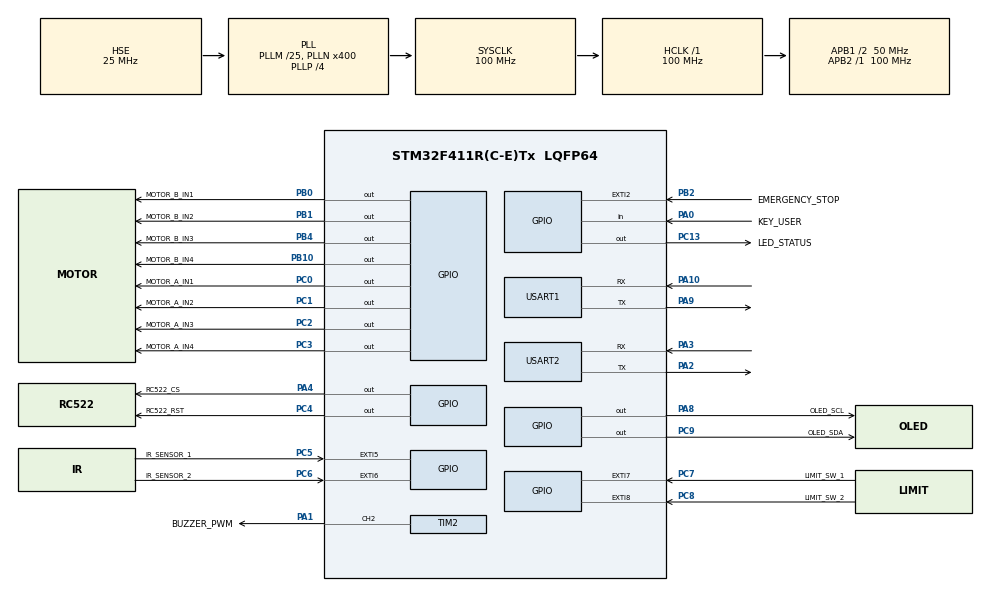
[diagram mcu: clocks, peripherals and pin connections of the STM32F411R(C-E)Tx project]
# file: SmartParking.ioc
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Dma.Request0=USART2_RX
Dma.USART2_RX.0.Direction=DMA_PERIPH_TO_MEMORY
Dma.USART2_RX.0.FIFOMode=DMA_FIFOMODE_DISABLE
Dma.USART2_RX.0.Instance=DMA1_Stream5
Dma.USART2_RX.0.MemDataAlignment=DMA_MDATAALIGN_BYTE
Dma.USART2_RX.0.MemInc=DMA_MINC_ENABLE
Dma.USART2_RX.0.Mode=DMA_CIRCULAR
Dma.USART2_RX.0.PeriphDataAlignment=DMA_PDATAALIGN_BYTE
Dma.USART2_RX.0.PeriphInc=DMA_PINC_DISABLE
Dma.USART2_RX.0.Priority=DMA_PRIORITY_MEDIUM
FREERTOS.Tasks01=defaultTask,24,128,StartDefaultTask,Default,NULL,Dynamic,NULL,NULL
FREERTOS.configCHECK_FOR_STACK_OVERFLOW=2
FREERTOS.configTOTAL_HEAP_SIZE=40960
Mcu.Family=STM32F4
Mcu.Name=STM32F411R(C-E)Tx
Mcu.Package=LQFP64
NVIC.DMA1_Stream5_IRQn=true\:5\:0\:false\:false\:true\:true\:false\:true\:true
NVIC.EXTI2_IRQn=true\:5\:0\:false\:false\:true\:true\:true\:true\:true
NVIC.EXTI9_5_IRQn=true\:5\:0\:false\:false\:true\:true\:true\:true\:true
NVIC.PriorityGroup=NVIC_PRIORITYGROUP_4
NVIC.TIM1_TRG_COM_TIM11_IRQn=true\:15\:0\:false\:false\:true\:false\:false\:true\:true
NVIC.TimeBase=TIM1_TRG_COM_TIM11_IRQn
NVIC.TimeBaseIP=TIM11
NVIC.USART1_IRQn=true\:5\:0\:false\:false\:true\:true\:true\:true\:true
NVIC.USART2_IRQn=true\:5\:0\:false\:false\:true\:true\:true\:true\:true
PA0-WKUP.GPIO_Label=KEY_USER
PA0-WKUP.GPIO_PuPd=GPIO_PULLUP
PA0-WKUP.Signal=GPIO_Input
PA1.GPIO_Label=BUZZER_PWM
PA1.Signal=S_TIM2_CH2
PA10.Mode=Asynchronous
PA10.Signal=USART1_RX
PA13.Mode=Serial_Wire
PA13.Signal=SYS_JTMS-SWDIO
PA14.Mode=Serial_Wire
PA14.Signal=SYS_JTCK-SWCLK
PA2.Mode=Asynchronous
PA2.Signal=USART2_TX
PA3.Mode=Asynchronous
PA3.Signal=USART2_RX
PA4.GPIO_Label=RC522_CS
PA4.GPIO_Speed=GPIO_SPEED_FREQ_HIGH
PA4.PinState=GPIO_PIN_SET
PA4.Signal=GPIO_Output
PA8.GPIO_Label=OLED_SCL
PA8.GPIO_ModeDefaultOutputPP=GPIO_MODE_OUTPUT_OD
PA8.GPIO_PuPd=GPIO_NOPULL
PA8.GPIO_Speed=GPIO_SPEED_FREQ_HIGH
PA8.Signal=GPIO_Output
PA9.Mode=Asynchronous
PA9.Signal=USART1_TX
PB0.GPIO_Label=MOTOR_B_IN1
PB0.Signal=GPIO_Output
PB1.GPIO_Label=MOTOR_B_IN2
PB1.Signal=GPIO_Output
PB10.GPIO_Label=MOTOR_B_IN4
PB10.Signal=GPIO_Output
PB2.GPIO_Label=EMERGENCY_STOP
PB2.GPIO_ModeDefaultEXTI=GPIO_MODE_IT_RISING_FALLING
PB2.GPIO_PuPd=GPIO_PULLUP
PB2.Signal=GPXTI2
PB4.GPIO_Label=MOTOR_B_IN3
PB4.Signal=GPIO_Output
PC0.GPIO_Label=MOTOR_A_IN1
PC0.Signal=GPIO_Output
PC1.GPIO_Label=MOTOR_A_IN2
PC1.Signal=GPIO_Output
PC13-ANTI_TAMP.GPIO_Label=LED_STATUS
PC13-ANTI_TAMP.PinState=GPIO_PIN_SET
PC13-ANTI_TAMP.Signal=GPIO_Output
PC2.GPIO_Label=MOTOR_A_IN3
PC2.Signal=GPIO_Output
PC3.GPIO_Label=MOTOR_A_IN4
PC3.Signal=GPIO_Output
PC4.GPIO_Label=RC522_RST
PC4.PinState=GPIO_PIN_SET
PC4.Signal=GPIO_Output
PC5.GPIO_Label=IR_SENSOR_1
PC5.GPIO_ModeDefaultEXTI=GPIO_MODE_IT_RISING_FALLING
PC5.GPIO_PuPd=GPIO_PULLUP
PC5.Signal=GPXTI5
PC6.GPIO_Label=IR_SENSOR_2
PC6.GPIO_ModeDefaultEXTI=GPIO_MODE_IT_RISING_FALLING
PC6.GPIO_PuPd=GPIO_PULLUP
PC6.Signal=GPXTI6
PC7.GPIO_Label=LIMIT_SW_1
PC7.GPIO_ModeDefaultEXTI=GPIO_MODE_IT_RISING_FALLING
PC7.GPIO_PuPd=GPIO_PULLUP
PC7.Signal=GPXTI7
PC8.GPIO_Label=LIMIT_SW_2
PC8.GPIO_ModeDefaultEXTI=GPIO_MODE_IT_RISING_FALLING
PC8.GPIO_PuPd=GPIO_PULLUP
PC8.Signal=GPXTI8
PC9.GPIO_Label=OLED_SDA
PC9.GPIO_ModeDefaultOutputPP=GPIO_MODE_OUTPUT_OD
PC9.GPIO_PuPd=GPIO_NOPULL
PC9.GPIO_Speed=GPIO_SPEED_FREQ_HIGH
PC9.Signal=GPIO_Output
PH0\ -\ OSC_IN.Mode=HSE-External-Oscillator
PH0\ -\ OSC_IN.Signal=RCC_OSC_IN
PH1\ -\ OSC_OUT.Mode=HSE-External-Oscillator
PH1\ -\ OSC_OUT.Signal=RCC_OSC_OUT
ProjectManager.HeapSize=0x200
ProjectManager.StackSize=0x400
ProjectManager.TargetToolchain=CMake
RCC.48MHZClocksFreq_Value=100000000
RCC.AHBFreq_Value=100000000
RCC.APB1CLKDivider=RCC_HCLK_DIV2
RCC.APB1Freq_Value=50000000
RCC.APB1TimFreq_Value=100000000
RCC.APB2Freq_Value=100000000
RCC.APB2TimFreq_Value=100000000
RCC.CortexFreq_Value=100000000
RCC.HCLKFreq_Value=100000000
RCC.HSE_VALUE=25000000
RCC.HSI_VALUE=16000000
RCC.LSE_VALUE=32768
RCC.PLLM=25
RCC.PLLN=400
RCC.PLLP=RCC_PLLP_DIV4
RCC.PLLSourceVirtual=RCC_PLLSOURCE_HSE
RCC.SYSCLKFreq_VALUE=100000000
RCC.SYSCLKSource=RCC_SYSCLKSOURCE_PLLCLK
RCC.VCOOutputFreq_Value=400000000
SH.S_TIM2_CH2.0=TIM2_CH2,PWM Generation2 CH2
TIM2.Channel-PWM\ Generation2\ CH2=TIM_CHANNEL_2
TIM2.Period=333
TIM2.Prescaler=99
TIM2.Pulse-PWM\ Generation2\ CH2=166
USART1.VirtualMode=VM_ASYNC
USART2.VirtualMode=VM_ASYNC
VP_FREERTOS_VS_CMSIS_V2.Mode=CMSIS_V2
VP_SYS_VS_tim11.Mode=TIM11
VP_TIM2_VS_ClockSourceINT.Mode=Internal
board=custom

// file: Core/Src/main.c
/* USER CODE BEGIN Header */
/**
  ******************************************************************************
  * @file           : main.c
  * @brief          : Main program body
  ******************************************************************************
  * @attention
  *
  * Copyright (c) 2026 STMicroelectronics.
  * All rights reserved.
  *
  * This software is licensed under terms that can be found in the LICENSE file
  * in the root directory of this software component.
  * If no LICENSE file comes with this software, it is provided AS-IS.
  *
  ******************************************************************************
  */
/* USER CODE END Header */
#include "main.h"
#include "cmsis_os.h"
#include "dma.h"
#include "tim.h"
#include "usart.h"
#include "gpio.h"

/* USER CODE BEGIN Includes */
#include "bsp_oled.h"
#include "bsp_buzzer.h"
#include "bsp_keys.h"
#include "bsp_sensors.h"
#include "bsp_rc522.h"
#include "bsp_stepper.h"       /* ULN2003 步进电机驱动 */
#include "bsp_watchdog.h"
#include "bsp_clock.h"
/* USER CODE END Includes */

void SystemClock_Config(void);
void MX_FREERTOS_Init(void);

int main(void)
{

  /* MCU Configuration--------------------------------------------------------*/

  /* Reset of all peripherals, Initializes the Flash interface and the Systick. */
  HAL_Init();

  /* Configure the system clock */
  SystemClock_Config();

  /* Initialize all configured peripherals */
  MX_GPIO_Init();
  MX_DMA_Init();
  MX_USART1_UART_Init();
  MX_USART2_UART_Init();
  MX_TIM2_Init();
  /* USER CODE BEGIN 2 */

  /*
   * GPIO 初始化完成后初始化两个 ULN2003 步进电机。
   * 该函数会关闭全部线圈、清零位置，并启动 DWT 微秒延时计数器。
   */

  /*
  * OLED 使用 PA8/PC9 软件 I2C。
  * 这里完成一次硬件初始化和启动画面显示。
  * 进入 FreeRTOS 后，OLED 的运行时刷新只交给 UiTask。
  */
  if (OLED_Init() != HAL_OK)
  {
      Error_Handler();
  }

  OLED_ShowString(1, 1, "STM32F411");
  OLED_ShowString(2, 1, "Smart Parking");
  OLED_ShowString(3, 1, "System Ready");
  OLED_ShowNum(4, 1, 2026, 4);

  /*
   *初始化其他bsp模块
   */
   if (key_init() != HAL_OK) {
      Error_Handler();
   }

   if (sensor_init() != HAL_OK) {
      Error_Handler();
   }

    /*
    * 初始化两个 ULN2003 步进电机。
    * GPIO 已由 MX_GPIO_Init() 配置完成。
    */
    stepper_init();
    bsp_clock_init();
    bsp_watchdog_init();

    if (buzzer_init() != HAL_OK)
    {
        Error_Handler();
    }

  //  /* 初始化 RC522 RFID 读卡器 */
  //  if (rc522_init() != HAL_OK)
  //  {
  //   /* 初始化失败，可能是 SPI 通信异常或芯片未正确连接 */
  //   OLED_ShowString(4, 1, "RC522 Err");
  //   Error_Handler();
  //   }
  //  else
  //  {
  //   /* 初始化成功 */
  //   OLED_ShowString(4, 1, "RC522 OK");
  //  }

  HAL_StatusTypeDef rc522_status;
uint8_t rc522_version;

printf("\r\n========== RC522 DEBUG ==========\r\n");

rc522_status = rc522_init();

/*
 * 读取 RC522 的 VersionReg。
 * 这个值才是 RC522 版本号，不是 STM32CubeProgrammer 的 BL Version。
 */
rc522_version = rc522_read_version();

printf("[RC522] VersionReg = 0x%02X\r\n", rc522_version);
printf("[RC522] init status = %d\r\n", (int)rc522_status);
printf("[RC522] bus = software SPI\r\n");

if (rc522_status != HAL_OK)
{
    printf("[RC522] INIT FAILED\r\n");
    OLED_ShowString(4, 1, "RC522 Err");
    /* 读卡任务重试初始化，允许串口维护而非反复复位整机。 */
}
else
{
    printf("[RC522] INIT OK\r\n");
    OLED_ShowString(4, 1, "RC522 OK");
}

  /* USER CODE END 2 */

  /* Init scheduler */
  osKernelInitialize();  /* Call init function for freertos objects (in cmsis_os2.c) */
  MX_FREERTOS_Init();

  /* Start scheduler */
  osKernelStart();

  /* We should never get here as control is now taken by the scheduler */

  /* Infinite loop */
  while (1)
  {

  }
}

void SystemClock_Config(void)
{
  RCC_OscInitTypeDef RCC_OscInitStruct = {0};
  RCC_ClkInitTypeDef RCC_ClkInitStruct = {0};

  /** Configure the main internal regulator output voltage
  */
  __HAL_RCC_PWR_CLK_ENABLE();
  __HAL_PWR_VOLTAGESCALING_CONFIG(PWR_REGULATOR_VOLTAGE_SCALE1);

  /** Initializes the RCC Oscillators according to the specified parameters
  * in the RCC_OscInitTypeDef structure.
  */
  RCC_OscInitStruct.OscillatorType = RCC_OSCILLATORTYPE_HSE;
  RCC_OscInitStruct.HSEState = RCC_HSE_ON;
  RCC_OscInitStruct.PLL.PLLState = RCC_PLL_ON;
  RCC_OscInitStruct.PLL.PLLSource = RCC_PLLSOURCE_HSE;
  RCC_OscInitStruct.PLL.PLLM = 25;
  RCC_OscInitStruct.PLL.PLLN = 400;
  RCC_OscInitStruct.PLL.PLLP = RCC_PLLP_DIV4;
  RCC_OscInitStruct.PLL.PLLQ = 4;
  if (HAL_RCC_OscConfig(&RCC_OscInitStruct) != HAL_OK)
  {
    Error_Handler();
  }

  /** Initializes the CPU, AHB and APB buses clocks
  */
  RCC_ClkInitStruct.ClockType = RCC_CLOCKTYPE_HCLK|RCC_CLOCKTYPE_SYSCLK
                              |RCC_CLOCKTYPE_PCLK1|RCC_CLOCKTYPE_PCLK2;
  RCC_ClkInitStruct.SYSCLKSource = RCC_SYSCLKSOURCE_PLLCLK;
  RCC_ClkInitStruct.AHBCLKDivider = RCC_SYSCLK_DIV1;
  RCC_ClkInitStruct.APB1CLKDivider = RCC_HCLK_DIV2;
  RCC_ClkInitStruct.APB2CLKDivider = RCC_HCLK_DIV1;

  if (HAL_RCC_ClockConfig(&RCC_ClkInitStruct, FLASH_LATENCY_3) != HAL_OK)
  {
    Error_Handler();
  }
}

void HAL_TIM_PeriodElapsedCallback(TIM_HandleTypeDef *htim)
{
  if (htim->Instance == TIM11)
  {
    HAL_IncTick();
  }
}

void Error_Handler(void)
{
  /* USER CODE BEGIN Error_Handler_Debug */
  /* User can add his own implementation to report the HAL error return state */
  bsp_runtime_panic();
  /* USER CODE END Error_Handler_Debug */
}

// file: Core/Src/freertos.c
/* USER CODE BEGIN Header */
/**
  ******************************************************************************
  * File Name          : freertos.c
  * Description        : Code for freertos applications
  ******************************************************************************
  * @attention
  *
  * Copyright (c) 2026 STMicroelectronics.
  * All rights reserved.
  *
  * This software is licensed under terms that can be found in the LICENSE file
  * in the root directory of this software component.
  * If no LICENSE file comes with this software, it is provided AS-IS.
  *
  ******************************************************************************
  */
/* USER CODE END Header */

#include "FreeRTOS.h"
#include "task.h"
#include "main.h"
#include "cmsis_os.h"

/* USER CODE BEGIN Includes */
#include <stdio.h>
#include "app_events.h"
#include "bsp_oled.h"
#include "bsp_buzzer.h"
#include "bsp_keys.h"
#include "bsp_sensors.h"
#include "bsp_rc522.h"
#include <stdint.h>
#include <string.h>
#include <stdlib.h>
#include "bsp_stepper.h"
#include "parking_fsm.h"
#include "bsp_sim800.h"
#include "gsm_test.h"
#include "parking_store.h"
#include "motion_config.h"
#include "health_watch.h"
#include "bsp_watchdog.h"
#include "bsp_clock.h"
#include "bsp_console.h"
#include "parking_service.h"
/* USER CODE END Includes */

/* USER CODE BEGIN PTD */

/* 运动命令类型枚举 */
typedef enum
{
    MOTION_CMD_MOVE = 0,  // 移动指定步数
    MOTION_CMD_HOME,      // 回零
    MOTION_CMD_RECOVER_HOME, // 清除锁存后受控回零
    MOTION_CMD_STOP       // 立即停止
} MotionCommandType;

/* 运动命令结构体 */
typedef struct
{
    MotionCommandType type;  // 命令类型
    MotorID motor;           // 目标电机
    uint32_t steps;          // 步数（MOVE命令使用）
    MotorDirection direction; // 方向（MOVE命令使用）
    uint32_t command_id;
} MotionCommand;

static volatile uint8_t motion_active = 0U;
/* 可在调试器观察；UI丢帧由周期快照刷新兜底，业务丢事件则锁止。 */
volatile uint32_t app_parking_event_drops;
volatile uint32_t app_ui_event_drops;

/* USER CODE END PTD */

/* USER CODE BEGIN PD */

/*
 * 调试日志开关
 * 0 = 只显示关键事件
 * 1 = 显示详细调试信息
 */
#define DEBUG_VERBOSE 0

/*
 * 临时事件在 OLED 上的显示时间。
 * 传感器触发后显示 SENS，超过该时间恢复 OK。
 */
#define UI_EVENT_HOLD_MS 1000U

/* USER CODE END PD */

/* USER CODE BEGIN Variables */

/* 全局停车上下文（供UI任务访问） */
ParkingContext g_parking_context;
static ParkingContext ui_snapshot;

/*应用事件队列*/
osMessageQueueId_t parkingEventQueueHandle;  // ParkingTask 业务队列
osMessageQueueId_t uiEventQueueHandle;       // UiTask 显示队列

osMessageQueueId_t motionQueueHandle;
osThreadId_t motionTaskHandle;

/*蜂鸣器互斥锁，防止inputtask和safetask同时操作蜂鸣器*/
osMutexId_t buzzerMutexHandle;

/*三个基础任务句柄*/
osThreadId_t uiTaskHandle;
osThreadId_t inputTaskHandle;
osThreadId_t safetyTaskHandle;
osThreadId_t rfidTaskHandle;
osThreadId_t parkingTaskHandle;

/* GSM 测试任务句柄（已禁用） */
// osThreadId_t gsmTestTaskHandle;

/* USER CODE END Variables */
/* Definitions for defaultTask */
osThreadId_t defaultTaskHandle;
const osThreadAttr_t defaultTask_attributes = {
  .name = "defaultTask",
  .stack_size = 128 * 4,
  .priority = (osPriority_t) osPriorityNormal,
};

/* USER CODE BEGIN FunctionPrototypes */

/* 任务属性定义 */
const osThreadAttr_t uiTask_attributes = {
  .name = "UiTask",
  .stack_size = 512 * 4,
  .priority = (osPriority_t) osPriorityLow,
};

const osThreadAttr_t inputTask_attributes = {
  .name = "InputTask",
  .stack_size = 256 * 4,
  .priority = (osPriority_t) osPriorityNormal,
};

const osThreadAttr_t safetyTask_attributes = {
  .name = "SafetyTask",
  .stack_size = 256 * 4,
  .priority = (osPriority_t) osPriorityHigh,
};

const osThreadAttr_t rfidTask_attributes = {
  .name = "RfidTask",
  .stack_size = 512 * 4,
  .priority = (osPriority_t) osPriorityNormal,
};

const osThreadAttr_t motionTask_attributes = {
  .name = "MotionTask",
  .stack_size = 512 * 4,
  .priority = (osPriority_t) osPriorityNormal1,  // 介于 Normal 和 High 之间
};

const osThreadAttr_t parkingTask_attributes = {
  .name = "ParkingTask",
  .stack_size = 1024 * 4,
  .priority = (osPriority_t) osPriorityNormal,
};

/* GSM 测试任务属性（已禁用） */
/*
const osThreadAttr_t gsmTestTask_attributes = {
  .name = "GsmTestTask",
  .stack_size = 1024 * 4,
  .priority = (osPriority_t) osPriorityLow,
};
*/

/* 函数原型声明 */

static void StartUiTask(void *argument);
static void StartInputTask(void *argument);
static void StartSafetyTask(void *argument);
static void StartRfidTask(void *argument);
static void StartMotionTask(void *argument);
static void StartParkingTask(void *argument);
// static void StartGsmTestTask(void *argument);  /* GSM测试任务已禁用 */

static void app_post_event(AppEventType type, uint32_t value);
static void app_post_card_event(const uint8_t *uid);
static void app_deliver_event(const AppEvent *event);
static void app_post_motion_event(AppEventType type, const MotionCommand *command);
static uint8_t parking_save_context(const ParkingContext *context);
static uint8_t parking_motion_idle(void);
static void parking_print_diagnostics(void);

static void buzzer_beep_short_safe(void);
static void buzzer_beep_done_safe(void);
static void buzzer_on_safe(void);
static void buzzer_off_safe(void);

static uint8_t parking_request_motion(ParkingMotionType type, MotorID motor,
                                   uint32_t steps,
                                   MotorDirection direction, uint32_t command_id);
/* USER CODE END FunctionPrototypes */

void StartDefaultTask(void *argument);

void MX_FREERTOS_Init(void); /* (MISRA C 2004 rule 8.1) */

/* Hook prototypes */
void vApplicationStackOverflowHook(xTaskHandle xTask, signed char *pcTaskName);

/* USER CODE BEGIN 4 */
void vApplicationStackOverflowHook(xTaskHandle xTask, signed char *pcTaskName)
{
   (void)xTask; (void)pcTaskName;
   bsp_runtime_panic();
   /* Run time stack overflow checking is performed if
   configCHECK_FOR_STACK_OVERFLOW is defined to 1 or 2. This hook function is
   called if a stack overflow is detected. */
}
/* USER CODE END 4 */

void MX_FREERTOS_Init(void) {
  /* USER CODE BEGIN Init */
  health_init(HAL_GetTick());

  /* 系统启动横幅 */
  printf("\r\n");
  printf("========================================\r\n");
  printf("  STM32F4 Smart Parking System v1.0\r\n");
  printf("========================================\r\n");
  printf("[INIT] System clock: %lu MHz\r\n", SystemCoreClock / 1000000);
  printf("[INIT] FreeRTOS initialization...\r\n");

  /* USER CODE END Init */

  /* USER CODE BEGIN RTOS_MUTEX */
  /*
   * 创建蜂鸣器互斥锁。
   * 蜂鸣器可能同时被 InputTask 和 SafetyTask 使用，
   * 必须保证同一时刻只有一个任务操作它。
   */
  buzzerMutexHandle = osMutexNew(NULL);

  if (buzzerMutexHandle == NULL) {
      Error_Handler();
  }
  /* add mutexes, ... */
  /* USER CODE END RTOS_MUTEX */

  /* USER CODE BEGIN RTOS_QUEUES */

  /*
   * 创建停车业务事件队列。
   *
   * 该队列专属于 ParkingTask，保存所有业务相关事件：
   * - 刷卡事件（含完整 UID）
   * - 按键事件（存车/取车/缴费确认）
   * - 运动完成/故障事件
   * - 急停事件
   *
   * 队列长度 16：足够缓存短时间内的多个事件。
   */
  parkingEventQueueHandle = osMessageQueueNew(16, sizeof(AppEvent), NULL);

  if (parkingEventQueueHandle == NULL)
  {
    Error_Handler();
  }

  /*
   * 创建 UI 显示事件队列。
   *
   * 该队列专属于 UiTask，只用于驱动 OLED 显示更新。
   * UiTask 不参与业务决策，只负责显示当前状态快照。
   *
   * 队列长度 8：UI 刷新不需要保留完整历史，只显示最新状态。
   */
  uiEventQueueHandle = osMessageQueueNew(8, sizeof(AppEvent), NULL);

  if (uiEventQueueHandle == NULL)
  {
    Error_Handler();
  }
  /*
 * 所有电机控制请求统一进入该队列。
 * 只有 MotionTask 可以直接调用步进电机驱动。
 */
motionQueueHandle = osMessageQueueNew(8U, sizeof(MotionCommand), NULL);

if (motionQueueHandle == NULL)
{
    Error_Handler();
}
  /* add queues, ... */
  /* USER CODE END RTOS_QUEUES */

  /* Create the thread(s) */
  /* creation of defaultTask */
  defaultTaskHandle = osThreadNew(StartDefaultTask, NULL, &defaultTask_attributes);

  /* USER CODE BEGIN RTOS_THREADS */
  //OLED显示任务
  uiTaskHandle = osThreadNew(StartUiTask, NULL, &uiTask_attributes);

  //按键扫描任务
  inputTaskHandle = osThreadNew(StartInputTask, NULL, &inputTask_attributes);

  //安全监控任务
  safetyTaskHandle = osThreadNew(StartSafetyTask, NULL, &safetyTask_attributes);

  rfidTaskHandle = osThreadNew(StartRfidTask, NULL, &rfidTask_attributes);

  // 步进电机控制任务
  motionTaskHandle = osThreadNew(StartMotionTask, NULL, &motionTask_attributes);

  // 停车业务任务
  parkingTaskHandle = osThreadNew(StartParkingTask, NULL, &parkingTask_attributes);

  // GSM 测试任务（临时，测试完成后应禁用）
  // gsmTestTaskHandle = osThreadNew(StartGsmTestTask, NULL, &gsmTestTask_attributes);

  if ((defaultTaskHandle == NULL) || (uiTaskHandle == NULL) || (inputTaskHandle == NULL) ||
      (safetyTaskHandle == NULL) || (motionTaskHandle == NULL) ||
      (parkingTaskHandle == NULL) || (rfidTaskHandle == NULL) ||
      !parking_service_init(parking_motion_idle, parking_print_diagnostics))
  {
    Error_Handler();
  }

  printf("[INIT] All tasks created successfully\r\n");
  printf("[INIT] System ready, scheduler starting...\r\n");
  printf("========================================\r\n\r\n");

  /* add threads, ... */
  /* USER CODE END RTOS_THREADS */

}

void StartDefaultTask(void *argument)
{
  /* USER CODE BEGIN StartDefaultTask */
  /* Infinite loop */
  for(;;)
  {
    if (!health_check(HAL_GetTick())) bsp_runtime_panic();
    bsp_watchdog_refresh();
    osDelay(100U);
  }
  /* USER CODE END StartDefaultTask */
}

/* USER CODE BEGIN Application */

/**
 * @brief  向业务队列和 UI 队列同时投递事件
 * @param  type 事件类型
 * @param  value 事件附加值
 * @note   所有生产者统一调用此函数
 */
/* 所有队列发送统一检查。业务队列满时不能假装动作已受理。 */
static void app_deliver_event(const AppEvent *event)
{
    if (parkingEventQueueHandle == NULL ||
        osMessageQueuePut(parkingEventQueueHandle, event, 0U, 0U) != osOK) {
        taskENTER_CRITICAL();
        app_parking_event_drops++;
        taskEXIT_CRITICAL();
        stepper_request_stop(MOTOR_FAULT_COMMAND);
    }
    if (uiEventQueueHandle == NULL ||
        osMessageQueuePut(uiEventQueueHandle, event, 0U, 0U) != osOK) {
        taskENTER_CRITICAL();
        app_ui_event_drops++;
        taskEXIT_CRITICAL();
    }
}

static void app_post_event(AppEventType type, uint32_t value)
{
    AppEvent event = {0};
    event.tick = HAL_GetTick();
    event.type = type;
    event.value = value;
    app_deliver_event(&event);
}

static void app_post_motion_event(AppEventType type, const MotionCommand *command)
{
    AppEvent event = {0};
    event.tick = HAL_GetTick();
    event.type = type;
    event.value = (uint32_t)command->motor;
    event.command_id = command->command_id;
    /* 显式转换，避免两套枚举日后调整顺序导致完成事件无法匹配。 */
    switch (command->type) {
        case MOTION_CMD_MOVE: event.command_type = PARK_MOTION_MOVE; break;
        case MOTION_CMD_HOME: event.command_type = PARK_MOTION_HOME; break;
        case MOTION_CMD_RECOVER_HOME: event.command_type = PARK_MOTION_RECOVER_HOME; break;
        default: event.command_type = UINT32_MAX; break;
    }
    app_deliver_event(&event);
}

static void app_post_card_event(const uint8_t *uid)
{
    AppEvent event = {0};
    if (!uid) return;
    event.tick = HAL_GetTick();
    event.type = APP_EVENT_CARD_DETECTED;
    memcpy(event.uid, uid, 4U);
    app_deliver_event(&event);
}

//@brief加锁后发出短提示音
static void buzzer_beep_short_safe(void)
{
  if (buzzerMutexHandle == NULL)
  {
    return;
  }

  if (osMutexAcquire(buzzerMutexHandle, osWaitForever) == osOK)
  {
    (void)buzzer_beep_short();
    if (sensor_emergency_active()) (void)buzzer_on();
    (void)osMutexRelease(buzzerMutexHandle);
  }
}

//加锁后发出完成提示音
static void buzzer_beep_done_safe(void)
{
  if (buzzerMutexHandle == NULL)
  {
    return;
  }

  if (osMutexAcquire(buzzerMutexHandle, osWaitForever) == osOK)
  {
    (void)buzzer_beep_done();
    if (sensor_emergency_active()) (void)buzzer_on();
    (void)osMutexRelease(buzzerMutexHandle);
  }
}

//加锁后打开蜂鸣器
static void buzzer_on_safe(void)
{
  if (buzzerMutexHandle == NULL)
    {
        return;
    }

    if (osMutexAcquire(buzzerMutexHandle, osWaitForever) == osOK)
    {
        (void)buzzer_on();
        (void)osMutexRelease(buzzerMutexHandle);
    }
}

//加锁后关闭蜂鸣器
static void buzzer_off_safe(void)
{
    if (buzzerMutexHandle == NULL)
    {
        return;
    }

    if (osMutexAcquire(buzzerMutexHandle, osWaitForever) == osOK)
    {
        (void)buzzer_off();
        (void)osMutexRelease(buzzerMutexHandle);
    }
}

//根据当前状态刷新oled
static void ui_render(uint32_t sensor_state, AppEventType last_event, const uint8_t *last_uid)
{
  uint8_t emergency;
  const ParkingContext *ctx;
  ParkingContext snapshot;
  char title[17];
  (void)last_uid;

  emergency = (sensor_state & SENSOR_FLAG(SENSOR_EMERGENCY)) ? 1U : 0U;

  /* 获取停车上下文 */
  taskENTER_CRITICAL();
  snapshot = ui_snapshot;
  taskEXIT_CRITICAL();
  ctx = &snapshot;

  //当前oled最多显示四行，一行16字符
  (void)OLED_Clear();

  /* 第1行：标题 */
  if (ctx->state == PARK_WAIT_PAYMENT) {
      if (ctx->quote_uncertain) snprintf(title, sizeof(title), "Fee: CHECK TIME");
      else snprintf(title, sizeof(title), "Fee:%lu.%02lu",
          (unsigned long)(ctx->quote_cents / 100U), (unsigned long)(ctx->quote_cents % 100U));
  } else snprintf(title, sizeof(title), "Parking SMS:%u", parking_service_sms_status());
  OLED_ShowString(1, 1, title);

  /* 第2行：车位占用状态 L11 L12 L21 L22 */
  OLED_ShowString(2, 1, "L11:");
  OLED_ShowChar(2, 5, (ctx != NULL && ctx->slots[0].occupied) ? 'O' : '-');

  OLED_ShowString(2, 7, "L12:");
  OLED_ShowChar(2, 11, (ctx != NULL && ctx->slots[1].occupied) ? 'O' : '-');

  /* 第3行：车位占用状态 L21 L22 */
  OLED_ShowString(3, 1, "L21:");
  OLED_ShowChar(3, 5, (ctx != NULL && ctx->slots[2].occupied) ? 'O' : '-');

  OLED_ShowString(3, 7, "L22:");
  OLED_ShowChar(3, 11, (ctx != NULL && ctx->slots[3].occupied) ? 'O' : '-');

  /* 第4行：系统状态和事件 */
  if (emergency != 0U)
  {
      OLED_ShowString(4, 1, "ESTOP!");
      return;
  }

  /* 显示停车状态 */
  if (ctx != NULL)
  {
      switch (ctx->state)
      {
          case PARK_IDLE:
              OLED_ShowString(4, 1, "IDLE");
              break;
          case PARK_SELECT_ACTION:
              OLED_ShowString(4, 1, "WAIT");
              break;
          case PARK_MOVING_IN:
              OLED_ShowString(4, 1, "IN");
              OLED_ShowNum(4, 4, ctx->selected_slot, 1);
              break;
          case PARK_MOVING_HOME:
              OLED_ShowString(4, 1, "HOMING");
              break;
          case PARK_WAIT_PAYMENT:
              OLED_ShowString(4, 1, "PAY");
              OLED_ShowNum(4, 5, ctx->selected_slot, 1);
              break;
          case PARK_MOVING_OUT:
              OLED_ShowString(4, 1, "OUT");
              OLED_ShowNum(4, 5, ctx->selected_slot, 1);
              break;
          case PARK_FAULT:
              OLED_ShowString(4, 1, ctx->storage_fault ? "DATA!" :
                                  ctx->reconcile_required ? "CHECK!" : "FAULT!");
              break;
          case PARK_FULL:
              OLED_ShowString(4, 1, "FULL");
              break;
          default:
              OLED_ShowString(4, 1, "?");
              break;
      }
  }

  /* 第4行右侧：显示最后事件 */
  switch (last_event)
  {
      case APP_EVENT_KEY_PRESS:
          OLED_ShowString(4, 10, "KEY");
          break;
      case APP_EVENT_KEY_LONG_PRESS:
          OLED_ShowString(4, 10, "LONG");
          break;
      case APP_EVENT_SENSOR_CHANGED:
          OLED_ShowString(4, 10, "SENS");
          break;
      case APP_EVENT_CARD_DETECTED:
          OLED_ShowString(4, 10, "CARD");
          break;
      default:
          OLED_ShowString(4, 10, "OK");
          break;
  }
}

//OLED显示任务，唯一访问OLED，接收按键和传感器事件，周期性刷新传感器状态
static void StartUiTask(void *argument)
{
  AppEvent event;
  AppEventType last_event = APP_EVENT_NONE;
  uint8_t last_uid[4] = {0};  /* 保存最后读取的卡片UID */

  uint32_t sensor_state;
  uint32_t last_sensor_state = 0U;
  uint32_t last_event_tick = 0U;
  uint32_t last_render_tick = 0U;
  uint8_t display_dirty = 1U;
  ParkingState last_parking_state = PARK_FAULT;

  (void)argument;

  last_sensor_state = sensor_read_all();

  for(;;)
  {
    health_beat(HEALTH_UI, HAL_GetTick());
    /* 等待最多 100ms 事件
     * 如果没有事件，也会继续执行下面的周期刷新 */
    if(osMessageQueueGet(uiEventQueueHandle, &event, NULL, 100U) == osOK)

    {
      last_event = event.type;
      last_event_tick = HAL_GetTick();
      display_dirty = 1U;

      /* 如果是刷卡事件，保存UID */
      if (event.type == APP_EVENT_CARD_DETECTED)
      {
          memcpy(last_uid, event.uid, 4);
      }
    }

    sensor_state = sensor_read_all();
    if (g_parking_context.state != last_parking_state)
    {
        last_parking_state = g_parking_context.state;
        display_dirty = 1U;
    }

    if (sensor_state != last_sensor_state)
    {
      last_sensor_state = sensor_state;
      /*
       * 急停状态优先级高于普通传感器变化。
       */
      if ((sensor_state & SENSOR_FLAG(SENSOR_EMERGENCY)) != 0U)
      {
          last_event = APP_EVENT_EMERGENCY_ON;
      }
      else
      {
          last_event = APP_EVENT_SENSOR_CHANGED;
      }

      last_event_tick = HAL_GetTick();
      display_dirty = 1U;
    }

    /*
     * 急停未激活时，临时事件显示超过 1 秒后恢复为 OK。
     * 急停状态不在这里清除，由当前传感器状态决定。
     */
    if (((sensor_state & SENSOR_FLAG(SENSOR_EMERGENCY)) == 0U) &&
        (last_event != APP_EVENT_NONE) &&
        ((HAL_GetTick() - last_event_tick) >= UI_EVENT_HOLD_MS))
    {
        last_event = APP_EVENT_NONE;
        display_dirty = 1U;
    }

    if (display_dirty != 0U || (uint32_t)(HAL_GetTick() - last_render_tick) >= 1000U)
    {
      ui_render(sensor_state, last_event, last_uid);
      display_dirty = 0U;
      last_render_tick = HAL_GetTick();
    }
  }
}

//按键扫描任务，每10ms扫描一次PA0，并消抖
static void StartInputTask(void *argument)
{
  KeyId key_id;
  KeyEvent key_event;
  AppEventType app_event_type;

  (void)argument;

  for(;;)
  {
    key_event = key_scan_all(&key_id);
    health_beat(HEALTH_INPUT, HAL_GetTick());
    app_event_type = APP_EVENT_NONE;

    switch (key_event)
    {
      case KEY_EVENT_PRESS:
      app_event_type = APP_EVENT_KEY_PRESS;
      buzzer_beep_short_safe();
      break;

      case KEY_EVENT_RELEASE:
      app_event_type = APP_EVENT_KEY_RELEASE;
      break;

      case KEY_EVENT_LONG_PRESS:
      app_event_type = APP_EVENT_KEY_LONG_PRESS;
      buzzer_beep_done_safe();
      break;

      default:
      break;
    }

    if (app_event_type != APP_EVENT_NONE)
    {
      app_post_event(app_event_type, (uint32_t)key_id);
    }

    osDelay(KEY_SCAN_PERIOD_MS);
  }
}

/**
 * @brief  步进电机控制任务
 * @param  argument 未使用
 * @note   任务职责:
 *         1. 这是唯一允许直接操作步进电机的任务
 *         2. 从运动命令队列接收命令（MOVE/HOME/STOP）
 *         3. 调用 BSP 层驱动执行运动
 *         4. 检查运动结果并发布事件
 *         5. 确保其他任务不直接调用 stepper_xxx 函数
 */
static void StartMotionTask(void *argument)
{
    MotionCommand command;
    (void)argument;
    for (;;)
    {
        health_beat(HEALTH_MOTION, HAL_GetTick());
        stepper_service_stop();
        if (osMessageQueueGet(motionQueueHandle, &command, NULL, 10U) != osOK)
            continue;
        motion_active = 1U;
        /* 恢复入队后若再次发生急停，也必须拒绝，不能在这里再次清锁。 */
        if (stepper_get_fault() == MOTOR_FAULT_NONE)
        {
            switch (command.type)
            {
                case MOTION_CMD_MOVE:
                    stepper_move_steps(command.motor, command.steps, command.direction);
                    break;
                case MOTION_CMD_HOME:
                case MOTION_CMD_RECOVER_HOME:
                    stepper_home(command.motor);
                    break;
                case MOTION_CMD_STOP:
                    stepper_stop(command.motor);
                    break;
                default:
                    stepper_request_stop(MOTOR_FAULT_COMMAND);
                    break;
            }
        }
        stepper_service_stop();
        MotorFault fault = stepper_get_fault();
        if (fault == MOTOR_FAULT_NONE &&
            stepper_get_status(command.motor) == MOTOR_IDLE &&
            (command.type == MOTION_CMD_MOVE ||
             ((command.type == MOTION_CMD_HOME || command.type == MOTION_CMD_RECOVER_HOME) &&
              stepper_is_homed(command.motor))))
        {
            app_post_motion_event(APP_EVENT_MOTION_DONE, &command);
        }
        else
        {
            printf("[MOTION] Fault motor=%d, reason=%d\r\n", command.motor, fault);
            app_post_motion_event(fault == MOTOR_FAULT_TIMEOUT ?
                           APP_EVENT_MOTION_TIMEOUT : APP_EVENT_MOTION_FAULT,
                           &command);
        }
        /* 完成事件发布后再允许恢复，避免旧完成事件跨越恢复边界。 */
        motion_active = 0U;
    }
}

//安全监控；轮询急停，避免依赖EXTI2；读取传感器变化位图；急停时打开蜂鸣器；急停结束后关闭蜂鸣器
static void StartSafetyTask(void *argument)
{
    uint8_t emergency_active;
    uint8_t emergency_previous = 0U;
    uint32_t changed_flags;

    (void)argument;

    //保存当前任务的原生Free RTOS句柄
    sensor_set_notify_task((void *)xTaskGetCurrentTaskHandle());

    for (; ;)
    {
      //即使EXTI2没有触发，也通过轮询保证急停可用
      health_beat(HEALTH_SAFETY, HAL_GetTick());
      emergency_active = sensor_emergency_active();
      if (emergency_active != 0U)
          stepper_request_stop(MOTOR_FAULT_EMERGENCY);

      if((emergency_active != 0U) && (emergency_previous == 0U))
      {
        emergency_previous = 1U;
        buzzer_on_safe();
        app_post_event(APP_EVENT_EMERGENCY_ON, 1U);
      }
      else if((emergency_active == 0U) && (emergency_previous != 0U))
      {
        emergency_previous = 0U;
        buzzer_off_safe();
        app_post_event(APP_EVENT_EMERGENCY_OFF, 0U);
      }
      //读取并清除EXTI变化位图
      changed_flags = sensor_take_changed_flags();

      /*
       * 急停由上面的 emergency_active 逻辑单独处理，
       * 不再把急停变化作为普通传感器事件发送，
       * 避免 SENSOR_CHANGED 覆盖急停事件。
       */
      changed_flags &= ~SENSOR_FLAG(SENSOR_EMERGENCY);

      if(changed_flags != 0U)
      {
        app_post_event(APP_EVENT_SENSOR_CHANGED, changed_flags);
      }

      //使用任务通知实现20ms周期等待；如果EXTI中断发生，任务会被提前唤醒
      (void)ulTaskNotifyTake(pdTRUE, pdMS_TO_TICKS(20U));
    }
}

/**
 * @brief  RFID 读卡任务
 * @param  argument 未使用
 * @note   周期性扫描 RC522，检测到卡片后投递事件
 */
static void StartRfidTask(void *argument)
{
    RC522_Status status;
    uint8_t uid[4];
    uint8_t ready = 0U, errors = 0U;
    uint32_t version_tick = 0U;

    (void)argument;

    /* 延迟 100ms 等待系统稳定后再开始扫描 */
    osDelay(100U);

    printf("[RFID] Task started\r\n");

    for (;;)
    {
        health_beat(HEALTH_RFID, HAL_GetTick());
        if (ready && (uint32_t)(HAL_GetTick() - version_tick) >= 1000U) {
            uint8_t version = rc522_read_version();
            version_tick = HAL_GetTick();
            if (version != 0x91U && version != 0x92U && version != 0x88U && version != 0x82U)
                ready = 0U;
        }
        if (!ready) {
            ready = rc522_init() == HAL_OK;
            if (!ready) { osDelay(1000U); continue; }
            errors = 0U;
            printf("[RFID] ready\r\n");
        }

        /* 调用带去抖的读卡接口 (500ms去抖) */
        status = rc522_read_with_debounce(uid, 500U);
        if (status != RC522_OK && status != RC522_NOTAG && status != RC522_COLLISION) {
            if (++errors >= 5U) ready = 0U;
        } else errors = 0U;

        switch (status)
        {
            case RC522_OK:
                /* 成功读取到卡片 */
                printf("[RFID] Card: %02X:%02X:%02X:%02X\r\n",
                       uid[0], uid[1], uid[2], uid[3]);

                /* 投递卡片事件 */
                app_post_card_event(uid);

                /* 发出短提示音 */
                buzzer_beep_short_safe();
                break;

            case RC522_NOTAG:
                /* 无卡，正常情况 */
                break;

            case RC522_ERR:
                /* 通信错误 */
                printf("[RFID] Read error\r\n");
                break;

            case RC522_COLLISION:
                /* 多卡冲突 */
                printf("[RFID] Collision\r\n");
                break;

            case RC522_TIMEOUT:
                /* 读卡超时 */
                printf("[RFID] Timeout\r\n");
                break;

            default:
                break;
        }

        /* 每 150ms 扫描一次 */
        osDelay(150U);
    }
}

/**
 * @brief  停车业务任务
 * @param  argument 未使用
 * @note   维护停车状态机，处理刷卡、按键和运动事件
 */
static void StartParkingTask(void *argument)
{
    AppEvent event;
    ParkingSnapshot snapshot;
    ParkingStoreResult loaded;
    uint8_t i;
    (void)argument;
    parking_init(&g_parking_context);
    g_parking_context.persist = parking_save_context;
    g_parking_context.clock = bsp_clock_now;
    g_parking_context.notice = parking_service_notice;
    bsp_console_init();
    printf("[CONSOLE] 115200 8N1; HELP for commands; local PAY confirms payment\r\n");
    loaded = parking_store_load(&snapshot);
    health_beat(HEALTH_PARKING, HAL_GetTick());
    if (loaded == PARK_STORE_OK) {
        for (i = 0U; i < PARKING_SLOT_COUNT; i++) {
            SensorId sensor = PARKING_SLOTS[i].occupancy_sensor;
            g_parking_context.slots[i].occupied = (uint8_t)snapshot.slots[i].occupied;
            memcpy(g_parking_context.slots[i].uid, snapshot.slots[i].uid, 4U);
            g_parking_context.slots[i].start_tick = HAL_GetTick();
            g_parking_context.slots[i].start_epoch = snapshot.slots[i].start_epoch;
            g_parking_context.slots[i].time_uncertain = snapshot.slots[i].occupied &&
                (!bsp_clock_now() || !snapshot.slots[i].start_epoch ||
                 bsp_clock_now() < snapshot.slots[i].start_epoch);
            if (sensor < SENSOR_ID_COUNT && sensor_read(sensor) != snapshot.slots[i].occupied)
                g_parking_context.reconcile_required = 1U;
        }
        g_parking_context.pending = (uint8_t)snapshot.pending;
        g_parking_context.selected_slot = (uint8_t)snapshot.selected_slot;
        memcpy(g_parking_context.current_uid, snapshot.uid, 4U);
        if (snapshot.pending) g_parking_context.reconcile_required = 1U;
    } else if (loaded == PARK_STORE_ERROR || !parking_save_context(&g_parking_context)) {
        g_parking_context.storage_fault = 1U;
        g_parking_context.reconcile_required = 1U;
    }
    if (loaded == PARK_STORE_EMPTY) {
        for (i = 0U; i < PARKING_SLOT_COUNT; i++) {
            SensorId sensor = PARKING_SLOTS[i].occupancy_sensor;
            if (sensor < SENSOR_ID_COUNT && sensor_read(sensor))
                g_parking_context.reconcile_required = 1U;
        }
    }
    if (g_parking_context.reconcile_required || !motion_config_valid()) {
        AppEvent fault_event = { .type = APP_EVENT_MOTION_FAULT };
        parking_handle_event(&g_parking_context, &fault_event, parking_request_motion);
    } else {
        parking_begin_home(&g_parking_context, parking_request_motion, 0U);
    }
    printf("[PARKING] startup state=%u check=%u data=%u; STATUS for details\r\n",
        g_parking_context.state, g_parking_context.reconcile_required, g_parking_context.storage_fault);

    for (;;)
    {
        osStatus_t status = osMessageQueueGet(parkingEventQueueHandle, &event, NULL, 20U);
        health_beat(HEALTH_PARKING, HAL_GetTick());
        parking_poll(&g_parking_context, HAL_GetTick());
        /* 锁存独立于事件队列：队列满、短急停、急停已释放都不能漏过故障。 */
        if (stepper_get_fault() != MOTOR_FAULT_NONE)
        {
            AppEvent fault_event = { .type = APP_EVENT_MOTION_FAULT };
            parking_handle_event(&g_parking_context, &fault_event, parking_request_motion);
        }
        if (status == osOK)
            parking_handle_event(&g_parking_context, &event, parking_request_motion);
        parking_service_poll(&g_parking_context, parking_request_motion);
        taskENTER_CRITICAL();
        ui_snapshot = g_parking_context;
        taskEXIT_CRITICAL();
    }
}

static uint8_t parking_motion_idle(void)
{
    return !motion_active && motionQueueHandle != NULL &&
        osMessageQueueGetCount(motionQueueHandle) == 0U &&
        stepper_get_status(MOTOR_A) != MOTOR_RUNNING &&
        stepper_get_status(MOTOR_B) != MOTOR_RUNNING;
}

/* STATUS从ParkingTask调用；栈余量单位为32位word，取历史最小值。 */
static void parking_print_diagnostics(void)
{
    printf("[STACK] default=%lu safety=%lu motion=%lu parking=%lu input=%lu ui=%lu rfid=%lu words\r\n",
        (unsigned long)uxTaskGetStackHighWaterMark(defaultTaskHandle),
        (unsigned long)uxTaskGetStackHighWaterMark(safetyTaskHandle),
        (unsigned long)uxTaskGetStackHighWaterMark(motionTaskHandle),
        (unsigned long)uxTaskGetStackHighWaterMark(parkingTaskHandle),
        (unsigned long)uxTaskGetStackHighWaterMark(inputTaskHandle),
        (unsigned long)uxTaskGetStackHighWaterMark(uiTaskHandle),
        (unsigned long)uxTaskGetStackHighWaterMark(rfidTaskHandle));
    printf("[QUEUE] motion=%lu parking=%lu ui=%lu parking_drop=%lu ui_drop=%lu health_failed=0x%lx\r\n",
        (unsigned long)osMessageQueueGetCount(motionQueueHandle),
        (unsigned long)osMessageQueueGetCount(parkingEventQueueHandle),
        (unsigned long)osMessageQueueGetCount(uiEventQueueHandle),
        (unsigned long)app_parking_event_drops, (unsigned long)app_ui_event_drops,
        (unsigned long)health_failed_mask());
}

/* 仅ParkingTask调用；无活动/排队运动时才允许Flash擦写。
 * 同bank Flash擦除会暂停取指，因此不能与运动并发。 */
static uint8_t parking_save_context(const ParkingContext *context)
{
    ParkingSnapshot snapshot = {0};
    uint8_t i;
    if (motion_active || osMessageQueueGetCount(motionQueueHandle) != 0U ||
        stepper_get_status(MOTOR_A) == MOTOR_RUNNING ||
        stepper_get_status(MOTOR_B) == MOTOR_RUNNING) return 0U;
    if (context->storage_fault) {
        /* 写失败后的维护重试必须重新扫描，不能覆盖不确定的日志页。 */
        ParkingSnapshot previous;
        if (parking_store_load(&previous) == PARK_STORE_ERROR) return 0U;
    }
    for (i = 0U; i < PARKING_SLOT_COUNT; i++) {
        snapshot.slots[i].occupied = context->slots[i].occupied;
        memcpy(snapshot.slots[i].uid, context->slots[i].uid, 4U);
        snapshot.slots[i].start_epoch = context->slots[i].start_epoch;
    }
    snapshot.pending = context->pending;
    snapshot.selected_slot = context->selected_slot;
    memcpy(snapshot.uid, context->current_uid, 4U);
    return parking_store_save(&snapshot);
}

/**
 * @brief  获取停车上下文指针（供UI任务访问）
 * @return 停车上下文的只读指针
 * @note   通过访问StartParkingTask中的static变量
 */
const ParkingContext* parking_get_context(void)
{
    /* 声明为extern，指向StartParkingTask中的static context */
    extern ParkingContext g_parking_context;
    return &g_parking_context;
}

/**
 * @brief  运动请求回调函数（由状态机调用）
 * @param  motor 电机 ID
 * @param  steps 步数
 * @param  direction 方向
 * @note   组装运动命令并投递到运动队列
 */
static uint8_t parking_request_motion(ParkingMotionType type, MotorID motor,
                                      uint32_t steps, MotorDirection direction, uint32_t command_id)
{
    MotionCommand cmd;
    if (motionQueueHandle == NULL || (unsigned)motor >= MOTOR_COUNT || command_id == 0U ||
        (type != PARK_MOTION_MOVE && type != PARK_MOTION_HOME && type != PARK_MOTION_RECOVER_HOME) ||
        (direction != DIR_CW && direction != DIR_CCW))
    {
        stepper_request_stop(MOTOR_FAULT_COMMAND);
        return 0U;
    }
    cmd.type = type == PARK_MOTION_MOVE ? MOTION_CMD_MOVE :
               type == PARK_MOTION_RECOVER_HOME ? MOTION_CMD_RECOVER_HOME : MOTION_CMD_HOME;
    cmd.motor = motor;
    cmd.steps = steps;
    cmd.direction = direction;
    cmd.command_id = command_id;

    if (type == PARK_MOTION_RECOVER_HOME)
    {
        uint8_t accepted = 0U;
        taskENTER_CRITICAL();
        if (!motion_active && !sensor_emergency_active())
        {
            /* 清旧队列、清锁与入队作为一次恢复操作。
             * 入队后任何新急停都保持锁存，MotionTask不得再次清锁。 */
            if (osMessageQueueReset(motionQueueHandle) == osOK &&
                osMessageQueueReset(parkingEventQueueHandle) == osOK && stepper_clear_fault())
            {
                accepted = osMessageQueuePut(motionQueueHandle, &cmd, 0U, 0U) == osOK;
                if (!accepted)
                    stepper_request_stop(MOTOR_FAULT_COMMAND);
            }
        }
        taskEXIT_CRITICAL();
        return accepted;
    }
    if (stepper_get_fault() != MOTOR_FAULT_NONE || sensor_emergency_active())
        return 0U;
    if (osMessageQueuePut(motionQueueHandle, &cmd, 0U, 0U) != osOK)
    {
        stepper_request_stop(MOTOR_FAULT_COMMAND);
        return 0U;
    }
    return 1U;
}

/**
 * @brief  GSM 测试任务（已禁用，测试完成后不再需要）
 * @note   如需重新测试 GSM，取消注释相关代码：
 *         1. 取消注释 gsmTestTaskHandle 声明
 *         2. 取消注释 gsmTestTask_attributes
 *         3. 取消注释 StartGsmTestTask 函数原型
 *         4. 在 MX_FREERTOS_Init 中取消注释任务创建
 */
/*
static void StartGsmTestTask(void *argument)
{
    (void)argument;

    printf("\r\n");
    printf("========================================\r\n");
    printf("  GSM Test Task Started\r\n");
    printf("========================================\r\n");

    printf("[GSM_TEST] Waiting 5 seconds for system startup...\r\n");
    osDelay(5000);

    printf("[GSM_TEST] Starting full test sequence...\r\n\r\n");

    uint8_t result = gsm_test_full();

    if (result == 0)
    {
        printf("\r\n");
        printf("****************************************\r\n");
        printf("*  GSM Test: ALL PASSED                *\r\n");
        printf("*  SIM800L is ready for integration    *\r\n");
        printf("****************************************\r\n");
    }
    else
    {
        printf("\r\n");
        printf("****************************************\r\n");
        printf("*  GSM Test: FAILED (code %d)          *\r\n", result);
        printf("*  Check wiring and power supply       *\r\n");
        printf("****************************************\r\n");
    }

    printf("\r\n[GSM_TEST] Task finished, suspending...\r\n");
    vTaskSuspend(NULL);

    for (;;)
    {
        osDelay(1000);
    }
}
*/

/* USER CODE END Application */
